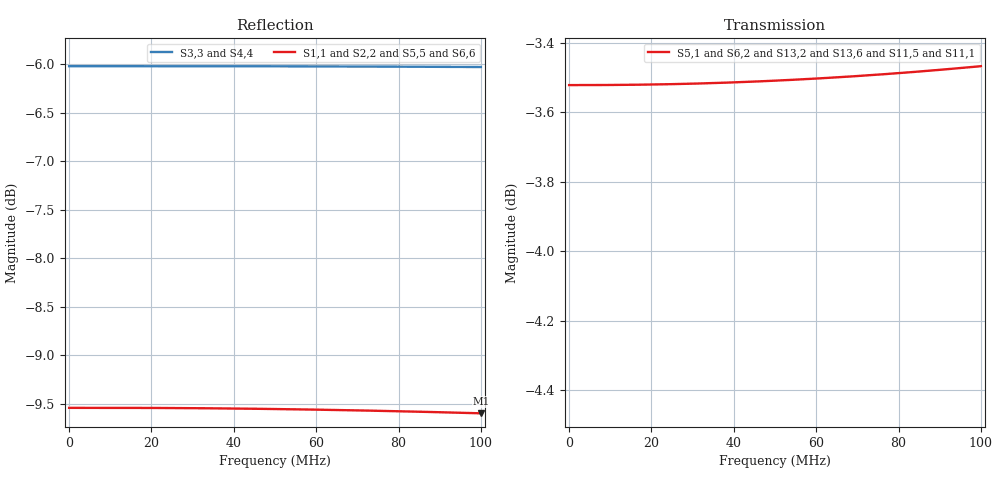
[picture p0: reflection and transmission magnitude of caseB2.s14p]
! CE EMI filter PCB, generated from HFSS get_solution_data
! ports: 1=L_IN, 2=N_IN, 3=L_OUT, 4=N_OUT
# Hz S RI R 50
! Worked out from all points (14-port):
!   299 points, 10 kHz to 100 MHz, reference 50 ohm
!   strongest paths, dB at 10 kHz, 742.6 kHz, 25.5 MHz, 63 MHz, 100 MHz:
!     S5,1: -3.5, -3.5, -3.5, -3.5, -3.5
!     S6,2: -3.5, -3.5, -3.5, -3.5, -3.5
!     S13,2: -3.5, -3.5, -3.5, -3.5, -3.5
!     S13,6: -3.5, -3.5, -3.5, -3.5, -3.5
!     S11,5: -3.5, -3.5, -3.5, -3.5, -3.6
!     S11,1: -3.5, -3.5, -3.5, -3.5, -3.6
!   lowest |S11| = -9.6 dB at 100 MHz (marker M1), VSWR 1.99, Z = 25.3 + j3.28 ohm
!   |S11| at or under -10 dB: nowhere
